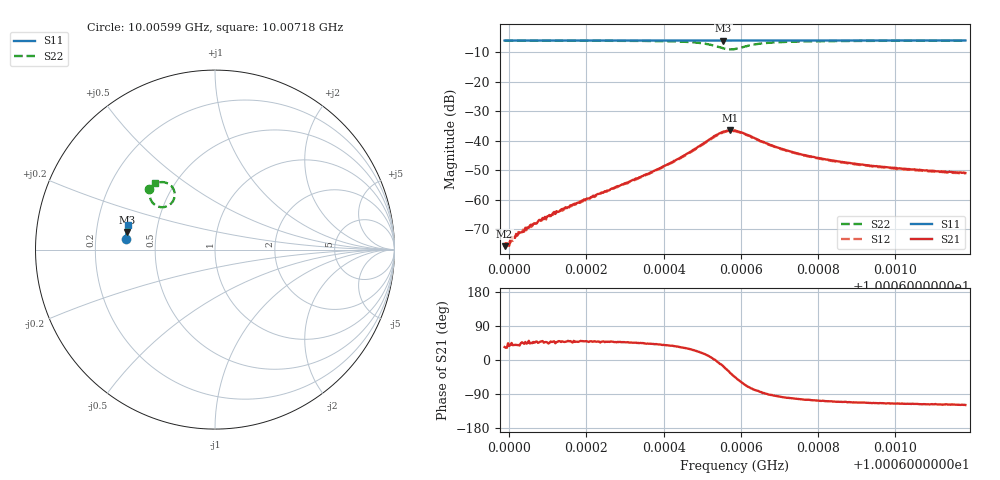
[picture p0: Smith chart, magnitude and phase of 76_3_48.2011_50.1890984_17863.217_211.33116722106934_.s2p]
#  HZ  S  RI  R  50.00
! Rohde & Schwarz Vector Network Analyzer
! Rohde-Schwarz,ZNB20-2Port,1311601062101988,3.16
! Created: UTC 3/20/2024, 11:39:29 AM
! freq[Hz]  re:S11  im:S11  re:S21  im:S21  re:S12  im:S12  re:S22  im:S22
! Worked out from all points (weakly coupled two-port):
!   401 points, 10.00599 GHz to 10.00718 GHz, reference 50 ohm
!   highest |S21| = -36.40 dB at 10.00657 GHz (marker M1); lowest = -75.6 dB at 10.00599 GHz (marker M2)
!   lowest |S11| = -6.0 dB at 10.00656 GHz (marker M3), VSWR 3.01, Z = 16.8 + j4.39 ohm
!   |S11| at or under -10 dB: nowhere
!   |S22| runs from -9.0 to -6.0 dB; largest |S21 - S12| = 0.001
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1.0005988e10  -0.4978 0.0617  0.000137 9.31e-05  0.00016 8.13e-05  -0.3671 0.3372
1.0005997e10  -0.4977 0.0623  0.000127 0.000124  0.000127 0.000113  -0.3666 0.3379
1.0006012e10  -0.4977 0.0633  0.00018 0.000148  0.000163 0.000137  -0.3656 0.3389
1.000603e10  -0.4975 0.0645  0.000201 0.000195  0.000208 0.000189  -0.3645 0.34
1.000606e10  -0.4973 0.0663  0.000265 0.000261  0.000248 0.000262  -0.3626 0.3422
1.0006086e10  -0.4971 0.0682  0.000318 0.000378  0.000298 0.000362  -0.3608 0.3441
1.000614e10  -0.4968 0.0716  0.000468 0.000528  0.000414 0.00053  -0.3568 0.348
1.0006188e10  -0.4963 0.0747  0.000624 0.000745  0.000591 0.000739  -0.3528 0.352
1.0006388e10  -0.4944 0.0878  0.00255 0.00224  0.00242 0.00229  -0.3224 0.3712
1.0006439e10  -0.4938 0.091  0.0041 0.00284  0.00388 0.00295  -0.3039 0.3759
1.0006498e10  -0.4928 0.095  0.0082 0.0028  0.00784 0.00311  -0.2632 0.3688
1.0006531e10  -0.4921 0.0969  0.0121 0.000316  0.0116 0.000906  -0.2322 0.3386
1.0006555e10  -0.4915 0.0981  0.0137 -0.00421  0.0135 -0.00357  -0.2256 0.2924
1.0006573e10  -0.4914 0.0987  0.0124 -0.00863  0.0126 -0.00771  -0.2452 0.2561
1.0006585e10  -0.4915 0.0993  0.0106 -0.0107  0.0108 -0.00996  -0.2681 0.2413
1.0006618e10  -0.4916 0.1012  0.00426 -0.0119  0.00497 -0.0114  -0.3273 0.2446
1.0006651e10  -0.4915 0.1033  0.00098 -0.00987  0.00153 -0.00974  -0.3543 0.2706
1.0006704e10  -0.4912 0.1069  -0.000944 -0.00735  -0.000546 -0.00723  -0.3639 0.3029
1.0006785e10  -0.4904 0.1122  -0.00151 -0.00516  -0.00125 -0.00516  -0.3608 0.3286
1.0006866e10  -0.4895 0.1173  -0.00154 -0.00408  -0.0013 -0.00411  -0.3549 0.3428
1.0006985e10  -0.4878 0.125  -0.00145 -0.00321  -0.0013 -0.00321  -0.3467 0.3561
1.0007182e10  -0.4848 0.1375  -0.00138 -0.00251  -0.00122 -0.00255  -0.3347 0.3711
